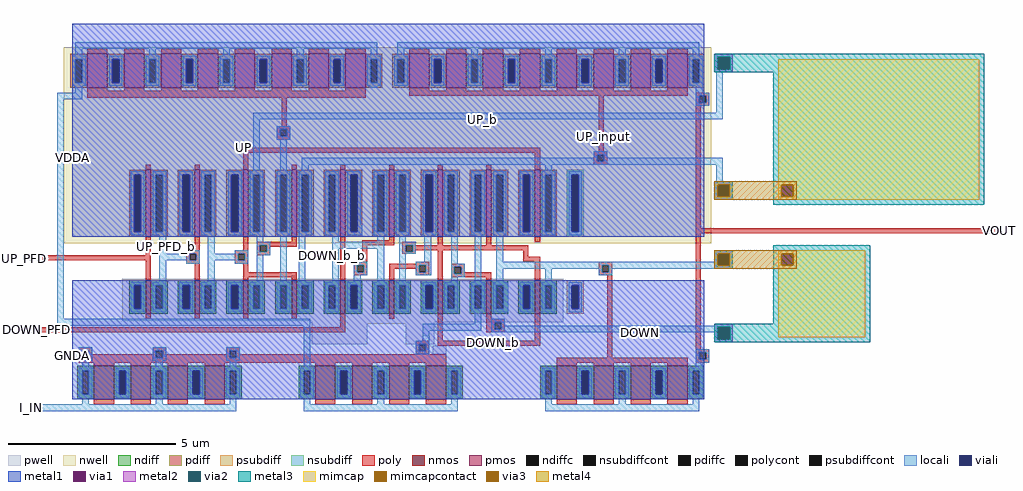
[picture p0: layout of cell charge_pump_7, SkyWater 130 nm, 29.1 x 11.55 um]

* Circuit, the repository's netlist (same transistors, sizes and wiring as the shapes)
* NGSPICE file created from charge_pump_7.ext - technology: sky130A

**.subckt charge_pump_7
X0 x OPAMP_out VDDA VDDA sky130_fd_pr__pfet_01v8 ad=0.25 pd=1.5 as=0.25 ps=1.5 w=1 l=0.6
X1 VOUT UP_input VDDA VDDA sky130_fd_pr__pfet_01v8 ad=0.25 pd=1.5 as=0.25 ps=1.5 w=1 l=0.6
X2 GNDA DOWN_input VOUT GNDA sky130_fd_pr__nfet_01v8 ad=0.25 pd=1.5 as=0.5 ps=3 w=1 l=0.6
X3 VDDA UP_input VOUT VDDA sky130_fd_pr__pfet_01v8 ad=0.25 pd=1.5 as=0.25 ps=1.5 w=1 l=0.6
X4 VDDA OPAMP_out x VDDA sky130_fd_pr__pfet_01v8 ad=0.25 pd=1.5 as=0.25 ps=1.5 w=1 l=0.6
X5 DOWN_b VDDA DOWN_b_b GNDA sky130_fd_pr__nfet_01v8 ad=0.5 pd=3 as=0.5 ps=3 w=1 l=0.15
X6 DOWN_input DOWN_b GNDA GNDA sky130_fd_pr__nfet_01v8 ad=0.5 pd=3 as=0.5 ps=3 w=1 l=0.15
X7 DOWN_b GNDA DOWN_b_b VDDA sky130_fd_pr__pfet_01v8 ad=1 pd=5 as=1 ps=5 w=2 l=0.15
X8 x I_IN GNDA GNDA sky130_fd_pr__nfet_01v8 ad=0.5 pd=3 as=0.25 ps=1.5 w=1 l=0.6
X9 x OPAMP_out VDDA VDDA sky130_fd_pr__pfet_01v8 ad=0.25 pd=1.5 as=0.25 ps=1.5 w=1 l=0.6
X10 x OPAMP_out VDDA VDDA sky130_fd_pr__pfet_01v8 ad=0.5 pd=3 as=0.25 ps=1.5 w=1 l=0.6
X11 UP_b UP VDDA VDDA sky130_fd_pr__pfet_01v8 ad=1 pd=5 as=1 ps=5 w=2 l=0.15
X12 I_IN I_IN GNDA GNDA sky130_fd_pr__nfet_01v8 ad=0.25 pd=1.5 as=0.25 ps=1.5 w=1 l=0.6
X13 VOUT DOWN_input GNDA GNDA sky130_fd_pr__nfet_01v8 ad=0.25 pd=1.5 as=0.25 ps=1.5 w=1 l=0.6
X14 VDDA OPAMP_out x VDDA sky130_fd_pr__pfet_01v8 ad=0.25 pd=1.5 as=0.25 ps=1.5 w=1 l=0.6
X15 UP_input UP_b OPAMP_out VDDA sky130_fd_pr__pfet_01v8 ad=1 pd=5 as=1 ps=5 w=2 l=0.15
X16 UP UP_PFD_b GNDA GNDA sky130_fd_pr__nfet_01v8 ad=0.5 pd=3 as=0.5 ps=3 w=1 l=0.15
X17 GNDA I_IN I_IN GNDA sky130_fd_pr__nfet_01v8 ad=0.25 pd=1.5 as=0.25 ps=1.5 w=1 l=0.6
X18 GNDA I_IN I_IN GNDA sky130_fd_pr__nfet_01v8 ad=0.25 pd=1.5 as=0.5 ps=3 w=1 l=0.6
X19 UP_input UP VDDA VDDA sky130_fd_pr__pfet_01v8 ad=1 pd=5 as=1 ps=5 w=2 l=0.15
X20 UP_PFD_b UP_PFD GNDA GNDA sky130_fd_pr__nfet_01v8 ad=0.5 pd=3 as=0.5 ps=3 w=1 l=0.15
X21 VOUT UP_input VDDA VDDA sky130_fd_pr__pfet_01v8 ad=0.5 pd=3 as=0.25 ps=1.5 w=1 l=0.6
X22 I_IN I_IN GNDA GNDA sky130_fd_pr__nfet_01v8 ad=0.5 pd=3 as=0.25 ps=1.5 w=1 l=0.6
X23 GNDA DOWN_PFD DOWN_b_b GNDA sky130_fd_pr__nfet_01v8 ad=0.5 pd=3 as=0.5 ps=3 w=1 l=0.15
X24 DOWN_input DOWN I_IN GNDA sky130_fd_pr__nfet_01v8 ad=0.5 pd=3 as=0.5 ps=3 w=1 l=0.15
X25 VOUT UP_input VDDA VDDA sky130_fd_pr__pfet_01v8 ad=0.25 pd=1.5 as=0.25 ps=1.5 w=1 l=0.6
X26 DOWN DOWN_b VDDA VDDA sky130_fd_pr__pfet_01v8 ad=1 pd=5 as=1 ps=5 w=2 l=0.15
X27 VDDA UP_input VOUT VDDA sky130_fd_pr__pfet_01v8 ad=0.25 pd=1.5 as=0.5 ps=3 w=1 l=0.6
X28 VOUT UP_input VDDA VDDA sky130_fd_pr__pfet_01v8 ad=0.25 pd=1.5 as=0.25 ps=1.5 w=1 l=0.6
X29 UP_PFD_b UP_PFD VDDA VDDA sky130_fd_pr__pfet_01v8 ad=1 pd=5 as=1 ps=5 w=2 l=0.15
X30 VDDA OPAMP_out x VDDA sky130_fd_pr__pfet_01v8 ad=0.25 pd=1.5 as=0.5 ps=3 w=1 l=0.6
X31 VDDA DOWN_PFD DOWN_b_b VDDA sky130_fd_pr__pfet_01v8 ad=1 pd=5 as=1 ps=5 w=2 l=0.15
X32 VDDA UP_input VOUT VDDA sky130_fd_pr__pfet_01v8 ad=0.25 pd=1.5 as=0.25 ps=1.5 w=1 l=0.6
X33 GNDA I_IN x GNDA sky130_fd_pr__nfet_01v8 ad=0.25 pd=1.5 as=0.5 ps=3 w=1 l=0.6
X34 x OPAMP_out VDDA VDDA sky130_fd_pr__pfet_01v8 ad=0.25 pd=1.5 as=0.25 ps=1.5 w=1 l=0.6
X35 UP UP_PFD_b VDDA VDDA sky130_fd_pr__pfet_01v8 ad=1 pd=5 as=1 ps=5 w=2 l=0.15
X36 GNDA DOWN_input VOUT GNDA sky130_fd_pr__nfet_01v8 ad=0.25 pd=1.5 as=0.25 ps=1.5 w=1 l=0.6
X37 UP_input UP OPAMP_out GNDA sky130_fd_pr__nfet_01v8 ad=0.5 pd=3 as=0.5 ps=3 w=1 l=0.15
X38 DOWN DOWN_b GNDA GNDA sky130_fd_pr__nfet_01v8 ad=0.5 pd=3 as=0.5 ps=3 w=1 l=0.15
X39 VDDA OPAMP_out x VDDA sky130_fd_pr__pfet_01v8 ad=0.25 pd=1.5 as=0.25 ps=1.5 w=1 l=0.6
X40 x I_IN GNDA GNDA sky130_fd_pr__nfet_01v8 ad=0.25 pd=1.5 as=0.25 ps=1.5 w=1 l=0.6
X41 VDDA UP_input VOUT VDDA sky130_fd_pr__pfet_01v8 ad=0.25 pd=1.5 as=0.25 ps=1.5 w=1 l=0.6
X42 UP_b UP GNDA GNDA sky130_fd_pr__nfet_01v8 ad=0.5 pd=3 as=0.5 ps=3 w=1 l=0.15
X43 VOUT DOWN_input GNDA GNDA sky130_fd_pr__nfet_01v8 ad=0.5 pd=3 as=0.25 ps=1.5 w=1 l=0.6
X44 DOWN_input DOWN_b I_IN VDDA sky130_fd_pr__pfet_01v8 ad=1 pd=5 as=1 ps=5 w=2 l=0.15
X45 GNDA I_IN x GNDA sky130_fd_pr__nfet_01v8 ad=0.25 pd=1.5 as=0.25 ps=1.5 w=1 l=0.6
X46 UP_input UP_b sky130_fd_pr__cap_mim_m3_1 l=4.2 w=6
X47 DOWN_input DOWN sky130_fd_pr__cap_mim_m3_1 l=2.6 w=2.6
.ends

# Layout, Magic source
magic
tech sky130A
<< nwell >>
rect -1545 620 385 1205
<< pwell >>
rect -865 520 -850 525
rect -1370 390 -55 515
rect -805 385 -55 390
rect -805 380 -440 385
rect -805 320 -640 380
rect -525 345 -440 380
rect -525 330 -475 345
rect -455 330 -440 345
rect -525 320 -440 330
rect -495 315 -455 320
rect -445 290 -405 315
<< nmos >>
rect -1300 410 -1285 510
rect -1155 410 -1140 510
rect -1010 410 -995 510
rect -865 410 -850 510
rect -720 410 -705 510
rect -575 410 -560 510
rect -430 410 -415 510
rect -285 410 -270 510
rect -140 410 -125 510
rect -1455 155 -1395 255
rect -1345 155 -1285 255
rect -1235 155 -1175 255
rect -1125 155 -1065 255
rect -795 155 -735 255
rect -685 155 -625 255
rect -575 155 -515 255
rect -465 155 -405 255
rect -75 155 -15 255
rect 35 155 95 255
rect 145 155 205 255
rect 255 155 315 255
<< pmos >>
rect -1475 1085 -1415 1185
rect -1365 1085 -1305 1185
rect -1255 1085 -1195 1185
rect -1145 1085 -1085 1185
rect -1035 1085 -975 1185
rect -925 1085 -865 1185
rect -815 1085 -755 1185
rect -705 1085 -645 1185
rect -515 1085 -455 1185
rect -405 1085 -345 1185
rect -295 1085 -235 1185
rect -185 1085 -125 1185
rect -75 1085 -15 1185
rect 35 1085 95 1185
rect 145 1085 205 1185
rect 255 1085 315 1185
rect -1300 640 -1285 840
rect -1155 640 -1140 840
rect -1010 640 -995 840
rect -865 640 -850 840
rect -720 640 -705 840
rect -575 640 -560 840
rect -430 640 -415 840
rect -285 640 -270 840
rect -140 640 -125 840
<< ndiff >>
rect -1350 495 -1300 510
rect -1350 425 -1335 495
rect -1315 425 -1300 495
rect -1350 410 -1300 425
rect -1285 495 -1235 510
rect -1285 425 -1270 495
rect -1250 425 -1235 495
rect -1285 410 -1235 425
rect -1205 495 -1155 510
rect -1205 425 -1190 495
rect -1170 425 -1155 495
rect -1205 410 -1155 425
rect -1140 495 -1090 510
rect -1140 425 -1125 495
rect -1105 425 -1090 495
rect -1140 410 -1090 425
rect -1060 495 -1010 510
rect -1060 425 -1045 495
rect -1025 425 -1010 495
rect -1060 410 -1010 425
rect -995 495 -945 510
rect -995 425 -980 495
rect -960 425 -945 495
rect -995 410 -945 425
rect -915 495 -865 510
rect -915 425 -900 495
rect -880 425 -865 495
rect -915 410 -865 425
rect -850 495 -800 510
rect -850 425 -835 495
rect -815 425 -800 495
rect -850 410 -800 425
rect -770 495 -720 510
rect -770 425 -755 495
rect -735 425 -720 495
rect -770 410 -720 425
rect -705 495 -655 510
rect -705 425 -690 495
rect -670 425 -655 495
rect -705 410 -655 425
rect -625 495 -575 510
rect -625 425 -610 495
rect -590 425 -575 495
rect -625 410 -575 425
rect -560 495 -510 510
rect -560 425 -545 495
rect -525 425 -510 495
rect -560 410 -510 425
rect -480 495 -430 510
rect -480 425 -465 495
rect -445 425 -430 495
rect -480 410 -430 425
rect -415 495 -365 510
rect -415 425 -400 495
rect -380 425 -365 495
rect -415 410 -365 425
rect -335 495 -285 510
rect -335 425 -320 495
rect -300 425 -285 495
rect -335 410 -285 425
rect -270 495 -220 510
rect -270 425 -255 495
rect -235 425 -220 495
rect -270 410 -220 425
rect -190 495 -140 510
rect -190 425 -175 495
rect -155 425 -140 495
rect -190 410 -140 425
rect -125 495 -75 510
rect -125 425 -110 495
rect -90 425 -75 495
rect -125 410 -75 425
rect -1505 240 -1455 255
rect -1505 170 -1490 240
rect -1470 170 -1455 240
rect -1505 155 -1455 170
rect -1395 240 -1345 255
rect -1395 170 -1380 240
rect -1360 170 -1345 240
rect -1395 155 -1345 170
rect -1285 240 -1235 255
rect -1285 170 -1270 240
rect -1250 170 -1235 240
rect -1285 155 -1235 170
rect -1175 240 -1125 255
rect -1175 170 -1160 240
rect -1140 170 -1125 240
rect -1175 155 -1125 170
rect -1065 240 -1015 255
rect -1065 170 -1050 240
rect -1030 170 -1015 240
rect -1065 155 -1015 170
rect -845 240 -795 255
rect -845 170 -830 240
rect -810 170 -795 240
rect -845 155 -795 170
rect -735 240 -685 255
rect -735 170 -720 240
rect -700 170 -685 240
rect -735 155 -685 170
rect -625 240 -575 255
rect -625 170 -610 240
rect -590 170 -575 240
rect -625 155 -575 170
rect -515 240 -465 255
rect -515 170 -500 240
rect -480 170 -465 240
rect -515 155 -465 170
rect -405 240 -355 255
rect -405 170 -390 240
rect -370 170 -355 240
rect -405 155 -355 170
rect -125 240 -75 255
rect -125 170 -110 240
rect -90 170 -75 240
rect -125 155 -75 170
rect -15 240 35 255
rect -15 170 0 240
rect 20 170 35 240
rect -15 155 35 170
rect 95 240 145 255
rect 95 170 110 240
rect 130 170 145 240
rect 95 155 145 170
rect 205 240 255 255
rect 205 170 220 240
rect 240 170 255 240
rect 205 155 255 170
rect 315 240 365 255
rect 315 170 330 240
rect 350 170 365 240
rect 315 155 365 170
<< pdiff >>
rect -1525 1170 -1475 1185
rect -1525 1100 -1510 1170
rect -1490 1100 -1475 1170
rect -1525 1085 -1475 1100
rect -1415 1170 -1365 1185
rect -1415 1100 -1400 1170
rect -1380 1100 -1365 1170
rect -1415 1085 -1365 1100
rect -1305 1170 -1255 1185
rect -1305 1100 -1290 1170
rect -1270 1100 -1255 1170
rect -1305 1085 -1255 1100
rect -1195 1170 -1145 1185
rect -1195 1100 -1180 1170
rect -1160 1100 -1145 1170
rect -1195 1085 -1145 1100
rect -1085 1170 -1035 1185
rect -1085 1100 -1070 1170
rect -1050 1100 -1035 1170
rect -1085 1085 -1035 1100
rect -975 1170 -925 1185
rect -975 1100 -960 1170
rect -940 1100 -925 1170
rect -975 1085 -925 1100
rect -865 1170 -815 1185
rect -865 1100 -850 1170
rect -830 1100 -815 1170
rect -865 1085 -815 1100
rect -755 1170 -705 1185
rect -755 1100 -740 1170
rect -720 1100 -705 1170
rect -755 1085 -705 1100
rect -645 1170 -595 1185
rect -645 1100 -630 1170
rect -610 1100 -595 1170
rect -645 1085 -595 1100
rect -565 1170 -515 1185
rect -565 1100 -550 1170
rect -530 1100 -515 1170
rect -565 1085 -515 1100
rect -455 1170 -405 1185
rect -455 1100 -440 1170
rect -420 1100 -405 1170
rect -455 1085 -405 1100
rect -345 1170 -295 1185
rect -345 1100 -330 1170
rect -310 1100 -295 1170
rect -345 1085 -295 1100
rect -235 1170 -185 1185
rect -235 1100 -220 1170
rect -200 1100 -185 1170
rect -235 1085 -185 1100
rect -125 1170 -75 1185
rect -125 1100 -110 1170
rect -90 1100 -75 1170
rect -125 1085 -75 1100
rect -15 1170 35 1185
rect -15 1100 0 1170
rect 20 1100 35 1170
rect -15 1085 35 1100
rect 95 1170 145 1185
rect 95 1100 110 1170
rect 130 1100 145 1170
rect 95 1085 145 1100
rect 205 1170 255 1185
rect 205 1100 220 1170
rect 240 1100 255 1170
rect 205 1085 255 1100
rect 315 1170 365 1185
rect 315 1100 330 1170
rect 350 1100 365 1170
rect 315 1085 365 1100
rect -1350 825 -1300 840
rect -1350 655 -1335 825
rect -1315 655 -1300 825
rect -1350 640 -1300 655
rect -1285 825 -1235 840
rect -1285 655 -1270 825
rect -1250 655 -1235 825
rect -1285 640 -1235 655
rect -1205 825 -1155 840
rect -1205 655 -1190 825
rect -1170 655 -1155 825
rect -1205 640 -1155 655
rect -1140 825 -1090 840
rect -1140 655 -1125 825
rect -1105 655 -1090 825
rect -1140 640 -1090 655
rect -1060 825 -1010 840
rect -1060 655 -1045 825
rect -1025 655 -1010 825
rect -1060 640 -1010 655
rect -995 825 -945 840
rect -995 655 -980 825
rect -960 655 -945 825
rect -995 640 -945 655
rect -915 825 -865 840
rect -915 655 -900 825
rect -880 655 -865 825
rect -915 640 -865 655
rect -850 825 -800 840
rect -850 655 -835 825
rect -815 655 -800 825
rect -850 640 -800 655
rect -770 825 -720 840
rect -770 655 -755 825
rect -735 655 -720 825
rect -770 640 -720 655
rect -705 825 -655 840
rect -705 655 -690 825
rect -670 655 -655 825
rect -705 640 -655 655
rect -625 825 -575 840
rect -625 655 -610 825
rect -590 655 -575 825
rect -625 640 -575 655
rect -560 825 -510 840
rect -560 655 -545 825
rect -525 655 -510 825
rect -560 640 -510 655
rect -480 825 -430 840
rect -480 655 -465 825
rect -445 655 -430 825
rect -480 640 -430 655
rect -415 825 -365 840
rect -415 655 -400 825
rect -380 655 -365 825
rect -415 640 -365 655
rect -335 825 -285 840
rect -335 655 -320 825
rect -300 655 -285 825
rect -335 640 -285 655
rect -270 825 -220 840
rect -270 655 -255 825
rect -235 655 -220 825
rect -270 640 -220 655
rect -190 825 -140 840
rect -190 655 -175 825
rect -155 655 -140 825
rect -190 640 -140 655
rect -125 825 -75 840
rect -125 655 -110 825
rect -90 655 -75 825
rect -125 640 -75 655
<< ndiffc >>
rect -1335 425 -1315 495
rect -1270 425 -1250 495
rect -1190 425 -1170 495
rect -1125 425 -1105 495
rect -1045 425 -1025 495
rect -980 425 -960 495
rect -900 425 -880 495
rect -835 425 -815 495
rect -755 425 -735 495
rect -690 425 -670 495
rect -610 425 -590 495
rect -545 425 -525 495
rect -465 425 -445 495
rect -400 425 -380 495
rect -320 425 -300 495
rect -255 425 -235 495
rect -175 425 -155 495
rect -110 425 -90 495
rect -1490 170 -1470 240
rect -1380 170 -1360 240
rect -1270 170 -1250 240
rect -1160 170 -1140 240
rect -1050 170 -1030 240
rect -830 170 -810 240
rect -720 170 -700 240
rect -610 170 -590 240
rect -500 170 -480 240
rect -390 170 -370 240
rect -110 170 -90 240
rect 0 170 20 240
rect 110 170 130 240
rect 220 170 240 240
rect 330 170 350 240
<< pdiffc >>
rect -1510 1100 -1490 1170
rect -1400 1100 -1380 1170
rect -1290 1100 -1270 1170
rect -1180 1100 -1160 1170
rect -1070 1100 -1050 1170
rect -960 1100 -940 1170
rect -850 1100 -830 1170
rect -740 1100 -720 1170
rect -630 1100 -610 1170
rect -550 1100 -530 1170
rect -440 1100 -420 1170
rect -330 1100 -310 1170
rect -220 1100 -200 1170
rect -110 1100 -90 1170
rect 0 1100 20 1170
rect 110 1100 130 1170
rect 220 1100 240 1170
rect 330 1100 350 1170
rect -1335 655 -1315 825
rect -1270 655 -1250 825
rect -1190 655 -1170 825
rect -1125 655 -1105 825
rect -1045 655 -1025 825
rect -980 655 -960 825
rect -900 655 -880 825
rect -835 655 -815 825
rect -755 655 -735 825
rect -690 655 -670 825
rect -610 655 -590 825
rect -545 655 -525 825
rect -465 655 -445 825
rect -400 655 -380 825
rect -320 655 -300 825
rect -255 655 -235 825
rect -175 655 -155 825
rect -110 655 -90 825
<< psubdiff >>
rect -45 495 5 510
rect -45 425 -30 495
rect -10 425 5 495
rect -45 410 5 425
<< nsubdiff >>
rect -45 825 5 840
rect -45 655 -30 825
rect -10 655 5 825
rect -45 640 5 655
<< psubdiffcont >>
rect -30 425 -10 495
<< nsubdiffcont >>
rect -30 655 -10 825
<< poly >>
rect -1475 1185 -1415 1200
rect -1365 1185 -1305 1200
rect -1255 1185 -1195 1200
rect -1145 1185 -1085 1200
rect -1035 1185 -975 1200
rect -925 1185 -865 1200
rect -815 1185 -755 1200
rect -705 1185 -645 1200
rect -515 1185 -455 1200
rect -405 1185 -345 1200
rect -295 1185 -235 1200
rect -185 1185 -125 1200
rect -75 1185 -15 1200
rect 35 1185 95 1200
rect 145 1185 205 1200
rect 255 1185 315 1200
rect -1475 1075 -1415 1085
rect -1365 1075 -1305 1085
rect -1255 1075 -1195 1085
rect -1145 1075 -1085 1085
rect -1035 1075 -975 1085
rect -925 1075 -865 1085
rect -815 1075 -755 1085
rect -705 1075 -645 1085
rect -1475 1055 -645 1075
rect -515 1075 -455 1085
rect -405 1075 -345 1085
rect -295 1075 -235 1085
rect -185 1075 -125 1085
rect -75 1075 -15 1085
rect 35 1075 95 1085
rect 145 1075 205 1085
rect 255 1075 315 1085
rect -515 1060 315 1075
rect 340 1060 380 1070
rect -895 970 -880 1055
rect -910 960 -870 970
rect -910 940 -900 960
rect -880 940 -870 960
rect -910 930 -870 940
rect -1010 890 -125 905
rect 50 895 65 1060
rect 340 1040 350 1060
rect 370 1040 380 1060
rect 340 1030 380 1040
rect -1300 840 -1285 855
rect -1155 840 -1140 855
rect -1010 840 -995 890
rect -865 840 -850 855
rect -720 840 -705 855
rect -575 840 -560 855
rect -430 840 -415 855
rect -285 840 -270 855
rect -140 840 -125 890
rect 35 885 75 895
rect 35 865 45 885
rect 65 865 75 885
rect 35 855 75 865
rect 340 665 355 1030
rect 340 650 1245 665
rect -1300 585 -1285 640
rect -1155 600 -1140 640
rect -1010 600 -995 640
rect -865 625 -850 640
rect -1665 570 -1285 585
rect -1300 510 -1285 570
rect -1180 590 -1140 600
rect -1180 570 -1170 590
rect -1150 570 -1140 590
rect -1180 560 -1140 570
rect -1035 590 -995 600
rect -1035 570 -1025 590
rect -1005 570 -995 590
rect -970 615 -850 625
rect -970 595 -960 615
rect -940 610 -850 615
rect -940 595 -930 610
rect -970 585 -930 595
rect -1035 560 -995 570
rect -1155 510 -1140 560
rect -1010 535 -995 560
rect -1010 520 -850 535
rect -1010 510 -995 520
rect -865 510 -850 520
rect -720 510 -705 640
rect -575 630 -560 640
rect -655 615 -560 630
rect -535 615 -495 625
rect -430 615 -415 640
rect -285 615 -270 640
rect -140 625 -125 640
rect -655 565 -640 615
rect -535 595 -525 615
rect -505 600 -160 615
rect -505 595 -495 600
rect -535 590 -495 595
rect -680 555 -640 565
rect -495 560 -455 565
rect -680 535 -670 555
rect -650 535 -640 555
rect -680 525 -640 535
rect -575 555 -455 560
rect -575 545 -485 555
rect -575 510 -560 545
rect -495 535 -485 545
rect -465 535 -455 555
rect -495 525 -455 535
rect -430 510 -415 600
rect -175 580 -160 600
rect -175 565 -125 580
rect -390 550 -350 560
rect -390 530 -380 550
rect -360 535 -350 550
rect -360 530 -270 535
rect -390 520 -270 530
rect -285 510 -270 520
rect -140 510 -125 565
rect 50 555 90 565
rect 50 535 60 555
rect 80 535 90 555
rect 50 525 90 535
rect -1300 395 -1285 410
rect -1155 395 -1140 410
rect -1010 395 -995 410
rect -865 395 -850 410
rect -720 370 -705 410
rect -575 395 -560 410
rect -1665 355 -705 370
rect -430 330 -415 410
rect -285 395 -270 410
rect -285 385 -230 395
rect -285 365 -260 385
rect -240 365 -230 385
rect -285 355 -230 365
rect -140 330 -125 410
rect -495 320 -455 330
rect -1500 300 -1460 310
rect -1500 280 -1490 300
rect -1470 290 -1460 300
rect -1280 300 -1240 310
rect -1280 290 -1270 300
rect -1470 280 -1270 290
rect -1250 290 -1240 300
rect -1060 300 -1020 310
rect -1060 290 -1050 300
rect -1250 280 -1050 290
rect -1030 290 -1020 300
rect -495 300 -485 320
rect -465 300 -455 320
rect -430 315 -125 330
rect -495 290 -455 300
rect -1030 280 -405 290
rect 75 280 90 525
rect 340 305 355 650
rect 340 295 380 305
rect -1500 265 -405 280
rect -1455 255 -1395 265
rect -1345 255 -1285 265
rect -1235 255 -1175 265
rect -1125 255 -1065 265
rect -795 255 -735 265
rect -685 255 -625 265
rect -575 255 -515 265
rect -465 255 -405 265
rect -75 265 315 280
rect 340 275 350 295
rect 370 275 380 295
rect 340 265 380 275
rect -75 255 -15 265
rect 35 255 95 265
rect 145 255 205 265
rect 255 255 315 265
rect -1455 140 -1395 155
rect -1345 140 -1285 155
rect -1235 140 -1175 155
rect -1125 140 -1065 155
rect -795 140 -735 155
rect -685 140 -625 155
rect -575 140 -515 155
rect -465 140 -405 155
rect -75 140 -15 155
rect 35 140 95 155
rect 145 140 205 155
rect 255 140 315 155
<< polycont >>
rect -900 940 -880 960
rect 350 1040 370 1060
rect 45 865 65 885
rect -1170 570 -1150 590
rect -1025 570 -1005 590
rect -960 595 -940 615
rect -525 595 -505 615
rect -670 535 -650 555
rect -485 535 -465 555
rect -380 530 -360 550
rect 60 535 80 555
rect -260 365 -240 385
rect -1490 280 -1470 300
rect -1270 280 -1250 300
rect -1050 280 -1030 300
rect -485 300 -465 320
rect 350 275 370 295
<< locali >>
rect -1510 1200 -610 1220
rect -1510 1180 -1490 1200
rect -1290 1180 -1270 1200
rect -1070 1180 -1050 1200
rect -850 1180 -830 1200
rect -630 1180 -610 1200
rect -550 1200 350 1220
rect -550 1180 -530 1200
rect -330 1180 -310 1200
rect -110 1180 -90 1200
rect 110 1180 130 1200
rect 330 1180 350 1200
rect -1520 1170 -1480 1180
rect -1520 1100 -1510 1170
rect -1490 1100 -1480 1170
rect -1520 1090 -1480 1100
rect -1410 1170 -1370 1180
rect -1410 1100 -1400 1170
rect -1380 1100 -1370 1170
rect -1410 1090 -1370 1100
rect -1300 1170 -1260 1180
rect -1300 1100 -1290 1170
rect -1270 1100 -1260 1170
rect -1300 1090 -1260 1100
rect -1190 1170 -1150 1180
rect -1190 1100 -1180 1170
rect -1160 1100 -1150 1170
rect -1190 1090 -1150 1100
rect -1080 1170 -1040 1180
rect -1080 1100 -1070 1170
rect -1050 1100 -1040 1170
rect -1080 1090 -1040 1100
rect -970 1170 -930 1180
rect -970 1100 -960 1170
rect -940 1100 -930 1170
rect -970 1090 -930 1100
rect -860 1170 -820 1180
rect -860 1100 -850 1170
rect -830 1100 -820 1170
rect -860 1090 -820 1100
rect -750 1170 -710 1180
rect -750 1100 -740 1170
rect -720 1100 -710 1170
rect -750 1090 -710 1100
rect -640 1170 -600 1180
rect -640 1100 -630 1170
rect -610 1100 -600 1170
rect -640 1090 -600 1100
rect -560 1170 -520 1180
rect -560 1100 -550 1170
rect -530 1100 -520 1170
rect -560 1090 -520 1100
rect -450 1170 -410 1180
rect -450 1100 -440 1170
rect -420 1100 -410 1170
rect -450 1090 -410 1100
rect -340 1170 -300 1180
rect -340 1100 -330 1170
rect -310 1100 -300 1170
rect -340 1090 -300 1100
rect -230 1170 -190 1180
rect -230 1100 -220 1170
rect -200 1100 -190 1170
rect -230 1090 -190 1100
rect -120 1170 -80 1180
rect -120 1100 -110 1170
rect -90 1100 -80 1170
rect -120 1090 -80 1100
rect -10 1170 30 1180
rect -10 1100 0 1170
rect 20 1100 30 1170
rect -10 1090 30 1100
rect 100 1170 140 1180
rect 100 1100 110 1170
rect 130 1100 140 1170
rect 100 1090 140 1100
rect 210 1170 250 1180
rect 210 1100 220 1170
rect 240 1100 250 1170
rect 210 1090 250 1100
rect 320 1170 360 1180
rect 320 1100 330 1170
rect 350 1100 360 1170
rect 395 1175 450 1185
rect 395 1140 405 1175
rect 440 1140 450 1175
rect 395 1130 450 1140
rect 320 1090 360 1100
rect -1510 1070 -1490 1090
rect -630 1085 -610 1090
rect -1565 1050 -1490 1070
rect 340 1070 360 1090
rect 340 1060 380 1070
rect -1565 395 -1545 1050
rect 340 1040 350 1060
rect 370 1040 380 1060
rect 340 1030 380 1040
rect 400 1010 420 1130
rect -980 990 420 1010
rect -980 835 -960 990
rect -910 960 -870 970
rect -910 940 -900 960
rect -880 940 -870 960
rect -910 930 -870 940
rect -900 835 -880 930
rect 35 885 75 895
rect 35 875 45 885
rect -835 865 45 875
rect 65 875 75 885
rect 65 865 420 875
rect -835 855 420 865
rect -835 835 -815 855
rect -110 835 -90 855
rect -1345 825 -1305 835
rect -1345 655 -1335 825
rect -1315 655 -1305 825
rect -1345 645 -1305 655
rect -1280 825 -1240 835
rect -1280 655 -1270 825
rect -1250 655 -1240 825
rect -1280 645 -1240 655
rect -1200 825 -1160 835
rect -1200 655 -1190 825
rect -1170 655 -1160 825
rect -1200 645 -1160 655
rect -1135 825 -1095 835
rect -1135 655 -1125 825
rect -1105 655 -1095 825
rect -1135 645 -1095 655
rect -1055 825 -1015 835
rect -1055 655 -1045 825
rect -1025 655 -1015 825
rect -1055 645 -1015 655
rect -990 825 -950 835
rect -990 655 -980 825
rect -960 655 -950 825
rect -990 645 -950 655
rect -910 825 -870 835
rect -910 655 -900 825
rect -880 655 -870 825
rect -910 645 -870 655
rect -845 825 -805 835
rect -845 655 -835 825
rect -815 655 -805 825
rect -845 645 -805 655
rect -765 825 -725 835
rect -765 655 -755 825
rect -735 655 -725 825
rect -765 645 -725 655
rect -700 825 -660 835
rect -700 655 -690 825
rect -670 675 -660 825
rect -620 825 -580 835
rect -670 655 -655 675
rect -700 645 -655 655
rect -620 655 -610 825
rect -590 655 -580 825
rect -620 645 -580 655
rect -555 825 -515 835
rect -555 655 -545 825
rect -525 655 -515 825
rect -555 645 -515 655
rect -475 825 -435 835
rect -475 655 -465 825
rect -445 655 -435 825
rect -475 645 -435 655
rect -410 825 -370 835
rect -410 655 -400 825
rect -380 655 -370 825
rect -410 645 -370 655
rect -330 825 -290 835
rect -330 655 -320 825
rect -300 655 -290 825
rect -330 645 -290 655
rect -265 825 -225 835
rect -265 655 -255 825
rect -235 655 -225 825
rect -265 645 -225 655
rect -185 825 -145 835
rect -185 655 -175 825
rect -155 655 -145 825
rect -185 645 -145 655
rect -120 825 -80 835
rect -120 655 -110 825
rect -90 655 -80 825
rect -120 645 -80 655
rect -40 825 0 835
rect -40 655 -30 825
rect -10 655 0 825
rect 400 805 420 855
rect 395 795 450 805
rect 395 760 405 795
rect 440 760 450 795
rect 395 750 450 760
rect -40 645 0 655
rect -1260 590 -1240 645
rect -1180 590 -1140 600
rect -1260 570 -1170 590
rect -1150 570 -1140 590
rect -1260 505 -1240 570
rect -1180 560 -1140 570
rect -1115 590 -1095 645
rect -970 625 -950 645
rect -970 615 -930 625
rect -1035 590 -995 600
rect -1115 570 -1025 590
rect -1005 570 -995 590
rect -1115 505 -1095 570
rect -1035 560 -995 570
rect -970 595 -960 615
rect -940 595 -930 615
rect -970 585 -930 595
rect -970 505 -950 585
rect -900 505 -880 645
rect -845 505 -825 645
rect -745 625 -725 645
rect -610 625 -590 645
rect -745 605 -590 625
rect -745 505 -725 605
rect -680 555 -640 565
rect -680 535 -670 555
rect -650 535 -640 555
rect -680 525 -640 535
rect -680 505 -660 525
rect -610 505 -590 605
rect -545 625 -525 645
rect -545 615 -495 625
rect -545 595 -525 615
rect -505 595 -495 615
rect -545 590 -495 595
rect -545 505 -525 590
rect -470 565 -450 645
rect -495 555 -450 565
rect -495 535 -485 555
rect -465 535 -450 555
rect -495 525 -450 535
rect -390 560 -370 645
rect -390 550 -350 560
rect -390 530 -380 550
rect -360 530 -350 550
rect -390 520 -350 530
rect -390 505 -370 520
rect -320 505 -300 645
rect -255 565 -235 645
rect 395 590 450 600
rect 395 565 405 590
rect -255 555 405 565
rect 440 555 450 590
rect -255 545 60 555
rect -255 505 -235 545
rect -110 505 -90 545
rect 50 535 60 545
rect 80 545 450 555
rect 80 535 90 545
rect 50 525 90 535
rect -1345 495 -1305 505
rect -1345 425 -1335 495
rect -1315 425 -1305 495
rect -1345 415 -1305 425
rect -1280 495 -1240 505
rect -1280 425 -1270 495
rect -1250 425 -1240 495
rect -1280 415 -1240 425
rect -1200 495 -1160 505
rect -1200 425 -1190 495
rect -1170 425 -1160 495
rect -1200 415 -1160 425
rect -1135 495 -1095 505
rect -1135 425 -1125 495
rect -1105 425 -1095 495
rect -1135 415 -1095 425
rect -1055 495 -1015 505
rect -1055 425 -1045 495
rect -1025 425 -1015 495
rect -1055 415 -1015 425
rect -990 495 -950 505
rect -990 425 -980 495
rect -960 425 -950 495
rect -990 415 -950 425
rect -910 495 -870 505
rect -910 425 -900 495
rect -880 425 -870 495
rect -910 415 -870 425
rect -845 495 -805 505
rect -845 425 -835 495
rect -815 425 -805 495
rect -845 415 -805 425
rect -765 495 -725 505
rect -765 425 -755 495
rect -735 425 -725 495
rect -765 415 -725 425
rect -700 495 -660 505
rect -700 425 -690 495
rect -670 425 -660 495
rect -700 415 -660 425
rect -620 495 -580 505
rect -620 425 -610 495
rect -590 425 -580 495
rect -620 415 -580 425
rect -555 495 -515 505
rect -555 425 -545 495
rect -525 425 -515 495
rect -555 415 -515 425
rect -475 495 -435 505
rect -475 425 -465 495
rect -445 425 -435 495
rect -475 415 -435 425
rect -410 495 -370 505
rect -410 425 -400 495
rect -380 425 -370 495
rect -410 415 -370 425
rect -330 495 -290 505
rect -330 425 -320 495
rect -300 425 -290 495
rect -330 415 -290 425
rect -265 495 -220 505
rect -265 425 -255 495
rect -235 425 -220 495
rect -265 415 -220 425
rect -185 495 -145 505
rect -185 425 -175 495
rect -155 425 -145 495
rect -185 415 -145 425
rect -120 495 -80 505
rect -120 425 -110 495
rect -90 425 -80 495
rect -120 415 -80 425
rect -40 495 0 505
rect -40 425 -30 495
rect -10 425 0 495
rect -40 415 0 425
rect -1565 375 -810 395
rect -320 380 -300 415
rect -1500 300 -1460 310
rect -1500 280 -1490 300
rect -1470 280 -1460 300
rect -1500 270 -1460 280
rect -1280 300 -1240 310
rect -1280 280 -1270 300
rect -1250 280 -1240 300
rect -1280 270 -1240 280
rect -1060 300 -1020 310
rect -1060 280 -1050 300
rect -1030 280 -1020 300
rect -1060 270 -1020 280
rect -1490 250 -1470 270
rect -1270 250 -1250 270
rect -1050 250 -1030 270
rect -830 250 -810 375
rect -475 360 -300 380
rect -270 385 -230 395
rect -270 365 -260 385
rect -240 375 -230 385
rect 395 375 450 380
rect -240 370 450 375
rect -240 365 405 370
rect -475 330 -455 360
rect -270 355 405 365
rect -495 320 -455 330
rect 395 335 405 355
rect 440 335 450 370
rect 395 325 450 335
rect -495 300 -485 320
rect -465 300 -455 320
rect -495 290 -455 300
rect 340 295 380 305
rect 340 275 350 295
rect 370 275 380 295
rect 340 265 380 275
rect -610 250 -590 255
rect 340 250 360 265
rect -1500 240 -1460 250
rect -1500 170 -1490 240
rect -1470 170 -1460 240
rect -1500 160 -1460 170
rect -1390 240 -1350 250
rect -1390 170 -1380 240
rect -1360 170 -1350 240
rect -1390 160 -1350 170
rect -1280 240 -1240 250
rect -1280 170 -1270 240
rect -1250 170 -1240 240
rect -1280 160 -1240 170
rect -1170 240 -1130 250
rect -1170 170 -1160 240
rect -1140 170 -1130 240
rect -1170 160 -1130 170
rect -1060 240 -1020 250
rect -1060 170 -1050 240
rect -1030 170 -1020 240
rect -1060 160 -1020 170
rect -840 240 -800 250
rect -840 170 -830 240
rect -810 170 -800 240
rect -840 160 -800 170
rect -730 240 -690 250
rect -730 170 -720 240
rect -700 170 -690 240
rect -730 160 -690 170
rect -620 240 -580 250
rect -620 170 -610 240
rect -590 170 -580 240
rect -620 160 -580 170
rect -510 240 -470 250
rect -510 170 -500 240
rect -480 170 -470 240
rect -510 160 -470 170
rect -400 240 -360 250
rect -400 170 -390 240
rect -370 170 -360 240
rect -400 160 -360 170
rect -120 240 -80 250
rect -120 170 -110 240
rect -90 170 -80 240
rect -120 160 -80 170
rect -10 240 30 250
rect -10 170 0 240
rect 20 170 30 240
rect -10 160 30 170
rect 100 240 140 250
rect 100 170 110 240
rect 130 170 140 240
rect 100 160 140 170
rect 210 240 250 250
rect 210 170 220 240
rect 240 170 250 240
rect 210 160 250 170
rect 320 240 360 250
rect 320 170 330 240
rect 350 170 360 240
rect 320 160 360 170
rect -1490 140 -1470 160
rect -1270 140 -1250 160
rect -1050 140 -1030 160
rect -1640 120 -1030 140
rect -830 140 -810 160
rect -610 140 -590 160
rect -390 140 -370 160
rect -830 120 -370 140
rect -110 140 -90 160
rect 110 140 130 160
rect 330 140 350 160
rect -110 120 350 140
<< viali >>
rect -1400 1100 -1380 1170
rect -1180 1100 -1160 1170
rect -960 1100 -940 1170
rect -740 1100 -720 1170
rect -440 1100 -420 1170
rect -220 1100 -200 1170
rect 0 1100 20 1170
rect 220 1100 240 1170
rect 405 1140 440 1175
rect -1335 655 -1315 825
rect -1190 655 -1170 825
rect -1045 655 -1025 825
rect -690 655 -670 825
rect -465 655 -445 825
rect -175 655 -155 825
rect -30 655 -10 825
rect 405 760 440 795
rect 405 555 440 590
rect -1335 425 -1315 495
rect -1190 425 -1170 495
rect -1045 425 -1025 495
rect -690 425 -670 495
rect -465 425 -445 495
rect -175 425 -155 495
rect -30 425 -10 495
rect 405 335 440 370
rect -1380 170 -1360 240
rect -1160 170 -1140 240
rect -720 170 -700 240
rect -500 170 -480 240
rect 0 170 20 240
rect 220 170 240 240
<< metal1 >>
rect -1520 1170 365 1275
rect -1520 1100 -1400 1170
rect -1380 1100 -1180 1170
rect -1160 1100 -960 1170
rect -940 1100 -740 1170
rect -720 1100 -440 1170
rect -420 1100 -220 1170
rect -200 1100 0 1170
rect 20 1100 220 1170
rect 240 1100 365 1170
rect 395 1175 450 1185
rect 395 1140 405 1175
rect 440 1140 450 1175
rect 395 1130 450 1140
rect -1520 825 365 1100
rect -1520 655 -1335 825
rect -1315 655 -1190 825
rect -1170 655 -1045 825
rect -1025 655 -690 825
rect -670 655 -465 825
rect -445 655 -175 825
rect -155 655 -30 825
rect -10 655 365 825
rect 395 795 450 805
rect 395 760 405 795
rect 440 760 450 795
rect 395 750 450 760
rect -1520 640 365 655
rect 395 590 450 600
rect 395 555 405 590
rect 440 555 450 590
rect 395 545 450 555
rect -1520 495 365 510
rect -1520 425 -1335 495
rect -1315 425 -1190 495
rect -1170 425 -1045 495
rect -1025 425 -690 495
rect -670 425 -465 495
rect -445 425 -175 495
rect -155 425 -30 495
rect -10 425 365 495
rect -1520 240 365 425
rect 395 370 450 380
rect 395 335 405 370
rect 440 335 450 370
rect 395 325 450 335
rect -1520 170 -1380 240
rect -1360 170 -1160 240
rect -1140 170 -720 240
rect -700 170 -500 240
rect -480 170 0 240
rect 20 170 220 240
rect 240 170 365 240
rect -1520 155 365 170
<< via1 >>
rect 405 1140 440 1175
rect 405 760 440 795
rect 405 555 440 590
rect 405 335 440 370
<< metal2 >>
rect 395 1175 450 1185
rect 395 1140 405 1175
rect 440 1140 450 1175
rect 395 1130 450 1140
rect 395 795 450 805
rect 395 760 405 795
rect 440 760 450 795
rect 395 750 450 760
rect 395 590 450 600
rect 395 555 405 590
rect 440 555 450 590
rect 395 545 450 555
rect 395 370 450 380
rect 395 335 405 370
rect 440 335 450 370
rect 395 325 450 335
<< via2 >>
rect 405 1140 440 1175
rect 405 760 440 795
rect 405 555 440 590
rect 405 335 440 370
<< metal3 >>
rect 395 1175 1200 1185
rect 395 1140 405 1175
rect 440 1140 1200 1175
rect 395 1130 1200 1140
rect 395 795 450 805
rect 395 760 405 795
rect 440 760 450 795
rect 395 750 450 760
rect 570 735 1200 1130
rect 395 590 450 600
rect 395 555 405 590
rect 440 555 450 590
rect 395 545 450 555
rect 570 380 860 615
rect 395 370 860 380
rect 395 335 405 370
rect 440 335 860 370
rect 395 325 860 335
<< via3 >>
rect 405 760 440 795
rect 405 555 440 590
<< mimcap >>
rect 585 795 1185 1170
rect 585 760 595 795
rect 630 760 1185 795
rect 585 750 1185 760
rect 585 590 845 600
rect 585 555 595 590
rect 630 555 845 590
rect 585 340 845 555
<< mimcapcontact >>
rect 595 760 630 795
rect 595 555 630 590
<< metal4 >>
rect 395 795 640 805
rect 395 760 405 795
rect 440 760 595 795
rect 630 760 640 795
rect 395 750 640 760
rect 395 590 640 600
rect 395 555 405 590
rect 440 555 595 590
rect 630 555 640 590
rect 395 545 640 555
<< labels >>
flabel locali -745 585 -745 585 7 FreeSans 160 0 -80 0 DOWN_b_b
flabel locali -1240 610 -1240 610 3 FreeSans 160 0 80 0 UP_PFD_b
flabel poly 65 940 65 940 3 FreeSans 160 0 80 0 UP_input
flabel poly -1010 905 -1010 905 7 FreeSans 160 0 -80 0 UP
flabel locali -295 990 -295 990 5 FreeSans 160 0 0 -80 UP_b
flabel locali 175 355 175 355 5 FreeSans 160 0 0 -80 DOWN
flabel poly -265 325 -265 325 5 FreeSans 160 0 0 -80 DOWN_b
flabel poly 75 320 75 320 7 FreeSans 160 0 -80 0 DOWN_input
flabel metal1 -1520 285 -1520 285 7 FreeSans 160 0 -80 0 GNDA
flabel locali -1640 130 -1640 130 7 FreeSans 160 0 -80 0 I_IN
flabel metal1 -1520 875 -1520 875 7 FreeSans 160 0 -80 0 VDDA
flabel poly -1665 575 -1665 575 7 FreeSans 160 0 -80 0 UP_PFD
flabel poly -1665 365 -1665 365 7 FreeSans 160 0 -80 0 DOWN_PFD
flabel poly 1245 660 1245 660 3 FreeSans 400 0 200 0 VOUT
<< end >>
